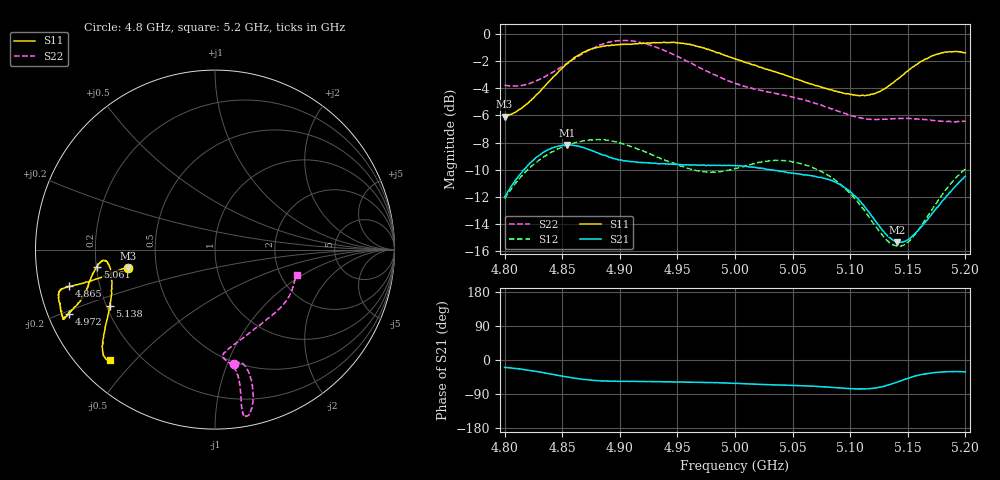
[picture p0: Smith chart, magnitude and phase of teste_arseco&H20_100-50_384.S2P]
! Network Analyzer HP8722D
! Hewlett-Packard
! Data name: Linha & Wilkinson
! Saver's name: Rodrigo Anjos
! Comments: Teste da utilização de aquisição
! continua pelo VNA HP8722D
! Time and date: 6/5/2025 15:46
!  Frequency  S11  S21  S12  S22
# HZ  S  MA R 50
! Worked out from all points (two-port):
!   401 points, 4.8 GHz to 5.2 GHz, reference 50 ohm
!   highest |S21| = -8.16 dB at 4.854 GHz (marker M1); lowest = -15.3 dB at 5.141 GHz (marker M2)
!   |S21| within 3 dB of the highest: 4.806 GHz to 5.093 GHz (286.7 MHz wide, 5.79 % of centre); 5.191834 GHz to end of sweep
!   lowest |S11| = -6.1 dB at 4.8 GHz (marker M3), VSWR 2.97, Z = 17 - j4.6 ohm
!   |S11| at or under -10 dB: nowhere
!   |S22| runs from -6.5 to -0.5 dB; largest |S21 - S12| = 0.62
!   S11 on the Smith chart (normalised r, x): 4.8 GHz: 0.34, -0.09; 4.865 GHz: 0.09, -0.12; 4.972 GHz: 0.06, -0.21; 5.061 GHz: 0.20, -0.07; 5.138 GHz: 0.21, -0.24; 5.2 GHz: 0.09, -0.43
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4.8e9  0.4962 -168.1  0.2517 -19.5  0.248 -140.7  0.6481 -80.4
4.828e9  0.5999 -167.0  0.3531 -30.4  0.3378 -144.7  0.6737 -75.3
4.854e9  0.7756 -165.8  0.3907 -44.7  0.3896 -149.6  0.7792 -74.6
4.865e9  0.8383 -165.9  0.3857 -49.7  0.4014 -151.5  0.8322 -75.1
4.867e9  0.8489 -165.6  0.3839 -50.6  0.4029 -151.8  0.8421 -75.3
4.898e9  0.9122 -162.9  0.3451 -56.1  0.3989 -156.3  0.944 -78.8
4.913e9  0.9193 -159.8  0.3387 -56.5  0.3811 -156.9  0.9379 -80.1
4.934e9  0.9282 -156.3  0.3329 -57.3  0.351 -155.5  0.8843 -80.4
4.972e9  0.8875 -156.3  0.3296 -58.8  0.3116 -146.1  0.7414 -79.7
5e9  0.8103 -158.8  0.3277 -61.7  0.32 -137.1  0.658 -81.2
5.035e9  0.7253 -165.2  0.3145 -65.7  0.343 -134.3  0.6036 -85.5
5.061e9  0.6634 -171.8  0.3032 -68.2  0.3297 -136.2  0.5715 -83.9
5.067e9  0.6527 -173.0  0.301 -69.0  0.3236 -136.6  0.5599 -82.7
5.087e9  0.6165 -174.4  0.2852 -72.9  0.2897 -138.4  0.5256 -74.8
5.102e9  0.5965 -171.7  0.2583 -75.7  0.2536 -138.6  0.4986 -65.9
5.116e9  0.5962 -165.6  0.2216 -75.8  0.2132 -135.4  0.4853 -55.9
5.134e9  0.6463 -154.1  0.1785 -65.3  0.1709 -120.8  0.4856 -43.3
5.138e9  0.6652 -151.8  0.1738 -61.3  0.1671 -115.7  0.4877 -40.9
5.141e9  0.6803 -150.1  0.1713 -58.0  0.1658 -111.8  0.4887 -39.1
5.153e9  0.7484 -144.9  0.1788 -45.3  0.1767 -96.2  0.4877 -32.8
5.172e9  0.8322 -138.9  0.2207 -33.5  0.2291 -81.1  0.4804 -24.5
5.2e9  0.8515 -133.6  0.2997 -31.2  0.3185 -76.7  0.477 -17.5
